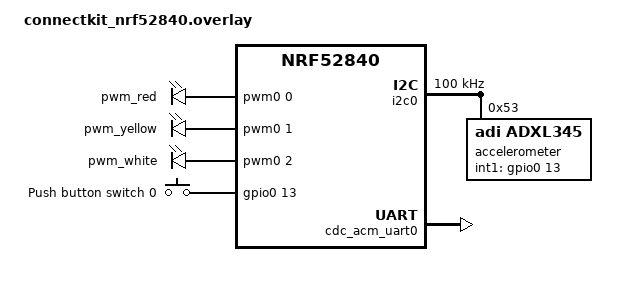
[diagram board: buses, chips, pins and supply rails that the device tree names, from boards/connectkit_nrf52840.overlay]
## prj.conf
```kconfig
# enable logging
CONFIG_LOG=y

# enable BLE with extended periodic observer
CONFIG_BT=y
# define BLE name for scan request
CONFIG_BT_DEVICE_NAME="TTL Receiver"
# increase BLE range by using CODED PHY
# CONFIG_BT_CTLR_PHY_CODED=y
CONFIG_BT_ISO_SYNC_RECEIVER=y
CONFIG_BT_ISO_MAX_CHAN=2

# Configuration for LED PWM solution
CONFIG_GPIO=y
CONFIG_PWM=y
CONFIG_PWM_LOG_LEVEL_DBG=y

# Enable adxl345 sensor via I2C
CONFIG_I2C=y
CONFIG_SENSOR=y
CONFIG_ADXL345=y
# Configure the adxl345 sensor
CONFIG_ADXL345_TRIGGER_GLOBAL_THREAD=y

CONFIG_SENSOR_LOG_LEVEL_DBG=y
# CONFIG_I2C_LOG_LEVEL_DBG=y
# CONFIG_I2C_DUMP_MESSAGES=y
# Configuration for LED Strips solution
# CONFIG_LED_STRIP=y
# CONFIG_LED_STRIP_LOG_LEVEL_DBG=y
# CONFIG_WS2812_STRIP=y
# CONFIG_LED_STRIP_WHITE_CHANNEL=y

CONFIG_PM_DEVICE=y
CONFIG_POWEROFF=y
CONFIG_REBOOT=y

CONFIG_TTL_SHUTDOWN_TIMEOUT=10
```

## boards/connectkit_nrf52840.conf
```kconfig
CONFIG_SERIAL=y
CONFIG_CONSOLE=y
CONFIG_UART_CONSOLE=y
CONFIG_UART_LINE_CTRL=y

# USB subsystem configuration
CONFIG_USB_DEVICE_STACK=y
CONFIG_USB_DEVICE_PRODUCT="Zephyr USB Console"
CONFIG_USB_DEVICE_INITIALIZE_AT_BOOT=y

CONFIG_CLOCK_CONTROL_NRF_K32SRC_RC=y
```

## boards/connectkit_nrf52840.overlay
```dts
/*
 * Copyright (c) 2016-2023 Makerdiary
 *
 * SPDX-License-Identifier: Apache-2.0
 */

// remove existing pwm LEDs dt configuration
/ {
	aliases {
		/delete-property/ sw0;
		/delete-property/ mcuboot-button0;
		/delete-property/ mcuboot-led0;

		/delete-property/ led0;
		/delete-property/ led1;
		/delete-property/ led2;
		/delete-property/ led3;
		/delete-property/ led0-green;
		/delete-property/ led1-red;
		/delete-property/ led1-green;
		/delete-property/ led1-blue;
		/delete-property/ pwm-led0;
		/delete-property/ pwm-led1;
		/delete-property/ pwm-led2;
		/delete-property/ pwm-led3;
		/delete-property/ red-pwm-led;
		/delete-property/ green-pwm-led;
		/delete-property/ blue-pwm-led;
	};
	/delete-node/ pwmleds;
	/delete-node/ buttons;
};

// create new configuration
/ {
	pwmleds {
		compatible = "pwm-leds";
		pwm_red: pwm_led0 {
			pwms = <&pwm0 0 PWM_SEC(1) PWM_POLARITY_NORMAL>;
		};
		pwm_yellow: pwm_led1 {
			pwms = <&pwm0 1 PWM_SEC(1) PWM_POLARITY_NORMAL>;
		};
		pwm_white: pwm_led2 {
			pwms = <&pwm0 2 PWM_SEC(1) PWM_POLARITY_NORMAL>;
		};
	};
};	

&pwm0_default {
	// use GPIO pins which are also available on the DONGLE
	group1 {
		psels = 
			<NRF_PSEL(PWM_OUT0, 0, 6)>, 
			<NRF_PSEL(PWM_OUT1, 0, 7)>,
			<NRF_PSEL(PWM_OUT2, 0, 8)>;
		
		// remove nordic,invert property,
		// otherwise the GPIO will be high if the PWM is disconnected
		/delete-property/ nordic,invert;
	};
};


/* 
 * ADXL345 on I2C
 * We use the alternative 7-bit I2C address: 0x53
 * Furthermore, we use the following pins for I2C
 *   - SCL: P0.22
 *   - SDA: P0.24
*/
&i2c0 {
	status = "okay";
	clock-frequency = <I2C_BITRATE_STANDARD>;
	accelerometer: adxl345@53 {
		compatible="adi,adxl345";
		reg=<0x53>;
		frequency=<100>;
		range=<16>;
		fifo=<0>;
		int1-gpios=<&gpio0 13 GPIO_ACTIVE_HIGH>;
	};
};

&i2c0_default {
	group1 {
		psels = <NRF_PSEL(TWIM_SCL, 0, 15)>,
				<NRF_PSEL(TWIM_SDA, 0, 16)>;
	};
};

/ {
		buttons {
		compatible = "gpio-keys";
		reboot_pin: reboot_pin {
			gpios = < &gpio0 13 (GPIO_PULL_DOWN | GPIO_ACTIVE_HIGH)>;
			label = "Push button switch 0";
		};
	};
};

/ {
  chosen {
      zephyr,console = &cdc_acm_uart0;
  };
};

&zephyr_udc0 {
  cdc_acm_uart0: cdc_acm_uart0 {
      compatible = "zephyr,cdc-acm-uart";
  };
};
```

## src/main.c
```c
#include <zephyr/drivers/gpio.h>
#include <zephyr/drivers/sensor.h>
#include <zephyr/kernel.h>
#include <zephyr/logging/log.h>
#include <zephyr/sys/poweroff.h>
#include <zephyr/sys/reboot.h>

#include "accel.h"
#include "ble.h"
#include "led.h"
#include "ttl.h"

LOG_MODULE_REGISTER(ttl_main, LOG_LEVEL_INF);

/**
 * @brief Reset pin, used by the accelerometer to wakeup the boot
 */
static const struct gpio_dt_spec reboot_pin =
    GPIO_DT_SPEC_GET(DT_NODELABEL(reboot_pin), gpios);

/**
 * @brief Overwrite ASSERT handler
 * @param reason - The reason for the fatal error
 * @param esf    - Exception context, with details and partial or full register
 *                 state when the error occurred. May in some cases be NULL.
 */
void k_sys_fatal_error_handler(unsigned int reason, const z_arch_esf_t *esf) {
  ARG_UNUSED(esf);
  LOG_ERR("Assert received, reboot system");
  sys_reboot(SYS_REBOOT_COLD);
  CODE_UNREACHABLE; /* LCOV_EXCL_LINE */
}

/**
 * @brief Power down TTL to save energy.
 * This function activates the acceleration monitoring and wakeups the MCU once
 * a movement is recognized.
 */
static int ttl_power_down() {
  int err;

  // stop all components
  ttl_ble_terminate();
  ttl_led_terminate();
  
  // wait some time before shuting down the system
  k_msleep(2000);

  // initiate accel interrupt for wakeup
  err = ttl_accel_init();
  if (TTL_OK != err) {
    LOG_ERR("Failed to initialize the TTLight ACCEL stack\n");
    return TTL_ERR;
  }

  // overwrite gpio interrupt pin config to be a user wakeup pin
  err = gpio_pin_configure_dt(&reboot_pin, GPIO_INPUT);
  if (err < 0) {
    LOG_ERR("Could not configure sw0 GPIO (%d)\n", err);
    return TTL_ERR;
  }

  err = gpio_pin_interrupt_configure_dt(&reboot_pin, GPIO_INT_LEVEL_ACTIVE);
  if (err < 0) {
    LOG_ERR("Could not configure sw0 GPIO interrupt (%d)\n", err);
    return TTL_ERR;
  }

  sys_poweroff();

  return TTL_OK;
}

/**
 * @brief Main function of the TTL receiver
 */
int main(void) {
  ttl_err_t err = 0;
  int64_t last_packet_time;
  int64_t elapsed_time;

  LOG_INF("Starting TTLight Controller\n");

  err = ttl_ble_init();
  if (TTL_OK != err) {
    LOG_ERR("Failed to initialize the TTLight BLE stack\n");
    return TTL_ERR;
  }
  LOG_INF("Initialized TTLight BLE stack properly");

  err = ttl_led_init();
  if (TTL_OK != err) {
    LOG_ERR("Failed to initialize the TTLight GPIO stack\n");
    goto exit;
  }
  ttl_ble_register_cb(ttl_led_upd_status);
  LOG_INF("Initialized TTLight LED stack properly");

  err = ttl_led_run();
  if (TTL_OK != err) {
    LOG_ERR("Failed to start TTLight LED stack");
    return TTL_ERR;
  }
  LOG_INF("Started TTLight LED stack properly");

  err = ttl_ble_run();
  if (TTL_OK != err) {
    LOG_ERR("Failed to start TTLight BLE stack");
    return TTL_ERR;
  }
  LOG_INF("Started TTLight BLE stack properly");

exit:
  while (1) {
    last_packet_time = ttl_ble_latest_packet_datetime();
    elapsed_time = k_uptime_delta(&last_packet_time);
    LOG_INF("Elapsed time: %lld", elapsed_time);
    k_msleep(1000);
    if (elapsed_time >= (CONFIG_TTL_SHUTDOWN_TIMEOUT * 1000)) {
      err = ttl_power_down();
      if (TTL_OK != err) {
        LOG_ERR("Failed to shutdown, let's force a restart of the board");
        k_msleep(2000);
        sys_reboot(SYS_REBOOT_COLD);
      }
    }
  }
  return 0;
}
```

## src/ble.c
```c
/*
 * Copyright (c) 2021 Nordic Semiconductor ASA
 *
 * SPDX-License-Identifier: Apache-2.0
 */

#include <sys/types.h>
#include <zephyr/bluetooth/bluetooth.h>
#include <zephyr/bluetooth/conn.h>
#include <zephyr/bluetooth/iso.h>
#include <zephyr/device.h>
#include <zephyr/devicetree.h>
#include <zephyr/logging/log.h>
#include <zephyr/sys/byteorder.h>

#include "ttl.h"
#include "zephyr/kernel.h"

LOG_MODULE_REGISTER(ttl_ble, LOG_LEVEL_INF);

// ttl ble thread objects
#define TTL_BLE_STACK_SIZE (2048)
static K_KERNEL_STACK_DEFINE(ttl_ble_thread_stack, TTL_BLE_STACK_SIZE);
static struct k_thread ttl_ble_thread_data;

static ttl_upd_state_cb_t ttl_upd_state_cb;
static int64_t ttl_iso_last_datetime;
static bool ttl_iso_connected;
#define TIMEOUT_SYNC_CREATE K_SECONDS(10)
#define NAME_LEN 30

#define BT_LE_SCAN_CUSTOM                                                      \
  BT_LE_SCAN_PARAM(BT_LE_SCAN_TYPE_ACTIVE, BT_LE_SCAN_OPT_NONE,                \
                   BT_GAP_SCAN_FAST_INTERVAL, BT_GAP_SCAN_FAST_WINDOW)

#define PA_RETRY_COUNT 6

static bool per_adv_found;
static bool per_adv_lost;
static bt_addr_le_t per_addr;
static uint8_t per_sid;
static uint32_t per_interval_us;

static uint32_t iso_recv_count;

static K_SEM_DEFINE(sem_per_adv, 0, 1);
static K_SEM_DEFINE(sem_per_sync, 0, 1);
static K_SEM_DEFINE(sem_per_sync_lost, 0, 1);
static K_SEM_DEFINE(sem_per_big_info, 0, 1);
static K_SEM_DEFINE(sem_big_sync, 0, 1);
static K_SEM_DEFINE(sem_big_sync_lost, 0, 1);

static bool data_cb(struct bt_data *data, void *user_data) {
  char *name = user_data;
  uint8_t len;

  switch (data->type) {
  case BT_DATA_NAME_SHORTENED:
  case BT_DATA_NAME_COMPLETE:
    len = MIN(data->data_len, NAME_LEN - 1);
    memcpy(name, data->data, len);
    name[len] = '\0';
    return false;
  default:
    return true;
  }
}

static const char *phy2str(uint8_t phy) {
  switch (phy) {
  case 0:
    return "No packets";
  case BT_GAP_LE_PHY_1M:
    return "LE 1M";
  case BT_GAP_LE_PHY_2M:
    return "LE 2M";
  case BT_GAP_LE_PHY_CODED:
    return "LE Coded";
  default:
    return "Unknown";
  }
}

static void scan_recv(const struct bt_le_scan_recv_info *info,
                      struct net_buf_simple *buf) {
  char le_addr[BT_ADDR_LE_STR_LEN];
  char name[NAME_LEN];

  (void)memset(name, 0, sizeof(name));

  bt_data_parse(buf, data_cb, name);

  bt_addr_le_to_str(info->addr, le_addr, sizeof(le_addr));
  LOG_DBG("[DEVICE]: %s, AD evt type %u, Tx Pwr: %i, RSSI %i %s "
          "C:%u S:%u D:%u SR:%u E:%u Prim: %s, Secn: %s, "
          "Interval: 0x%04x (%u us), SID: %u",
          le_addr, info->adv_type, info->tx_power, info->rssi, name,
          (info->adv_props & BT_GAP_ADV_PROP_CONNECTABLE) != 0,
          (info->adv_props & BT_GAP_ADV_PROP_SCANNABLE) != 0,
          (info->adv_props & BT_GAP_ADV_PROP_DIRECTED) != 0,
          (info->adv_props & BT_GAP_ADV_PROP_SCAN_RESPONSE) != 0,
          (info->adv_props & BT_GAP_ADV_PROP_EXT_ADV) != 0,
          phy2str(info->primary_phy), phy2str(info->secondary_phy),
          info->interval, BT_CONN_INTERVAL_TO_US(info->interval), info->sid);

  if (!per_adv_found && info->interval) {
    per_adv_found = true;

    per_sid = info->sid;
    per_interval_us = BT_CONN_INTERVAL_TO_US(info->interval);
    bt_addr_le_copy(&per_addr, info->addr);

    k_sem_give(&sem_per_adv);
  }
}

static struct bt_le_scan_cb scan_callbacks = {
    .recv = scan_recv,
};

static void sync_cb(struct bt_le_per_adv_sync *sync,
                    struct bt_le_per_adv_sync_synced_info *info) {
  char le_addr[BT_ADDR_LE_STR_LEN];

  bt_addr_le_to_str(info->addr, le_addr, sizeof(le_addr));

  LOG_INF("PER_ADV_SYNC[%u]: [DEVICE]: %s synced, "
          "Interval 0x%04x (%u ms), PHY %s",
          bt_le_per_adv_sync_get_index(sync), le_addr, info->interval,
          info->interval * 5 / 4, phy2str(info->phy));

  k_sem_give(&sem_per_sync);
}

static void term_cb(struct bt_le_per_adv_sync *sync,
                    const struct bt_le_per_adv_sync_term_info *info) {
  char le_addr[BT_ADDR_LE_STR_LEN];

  bt_addr_le_to_str(info->addr, le_addr, sizeof(le_addr));

  LOG_INF("PER_ADV_SYNC[%u]: [DEVICE]: %s sync terminated",
          bt_le_per_adv_sync_get_index(sync), le_addr);

  per_adv_lost = true;
  k_sem_give(&sem_per_sync_lost);
}

static void recv_cb(struct bt_le_per_adv_sync *sync,
                    const struct bt_le_per_adv_sync_recv_info *info,
                    struct net_buf_simple *buf) {
  char le_addr[BT_ADDR_LE_STR_LEN];
  char data_str[129];

  bt_addr_le_to_str(info->addr, le_addr, sizeof(le_addr));
  bin2hex(buf->data, buf->len, data_str, sizeof(data_str));

  LOG_INF("PER_ADV_SYNC[%u]: [DEVICE]: %s, tx_power %i, "
          "RSSI %i, CTE %u, data length %u, data: %s",
          bt_le_per_adv_sync_get_index(sync), le_addr, info->tx_power,
          info->rssi, info->cte_type, buf->len, data_str);
}

static void biginfo_cb(struct bt_le_per_adv_sync *sync,
                       const struct bt_iso_biginfo *biginfo) {
  char le_addr[BT_ADDR_LE_STR_LEN];

  bt_addr_le_to_str(biginfo->addr, le_addr, sizeof(le_addr));

  LOG_INF("BIG INFO[%u]: [DEVICE]: %s, sid 0x%02x, "
          "num_bis %u, nse %u, interval 0x%04x (%u ms), "
          "bn %u, pto %u, irc %u, max_pdu %u, "
          "sdu_interval %u us, max_sdu %u, phy %s, "
          "%s framing, %sencrypted",
          bt_le_per_adv_sync_get_index(sync), le_addr, biginfo->sid,
          biginfo->num_bis, biginfo->sub_evt_count, biginfo->iso_interval,
          (biginfo->iso_interval * 5 / 4), biginfo->burst_number,
          biginfo->offset, biginfo->rep_count, biginfo->max_pdu,
          biginfo->sdu_interval, biginfo->max_sdu, phy2str(biginfo->phy),
          biginfo->framing ? "with" : "without",
          biginfo->encryption ? "" : "not ");

  k_sem_give(&sem_per_big_info);
}

static struct bt_le_per_adv_sync_cb sync_callbacks = {
    .synced = sync_cb,
    .term = term_cb,
    .recv = recv_cb,
    .biginfo = biginfo_cb,
};

/**
 * @brief Callback function once ISO data has been received via BLE
 */
static void iso_recv(struct bt_iso_chan *chan,
                     const struct bt_iso_recv_info *info, struct net_buf *buf) {
  ttl_state_t state; /* only valid if the data is a counter */

  if (buf->len == sizeof(state)) {
    state.entire = sys_get_le32(buf->data);

    if ((iso_recv_count % CONFIG_TTL_STATE_PRINT_INTERVAL) == 0) {
      LOG_INF("Incoming data channel %p flags 0x%x seq_num %u ts %u len %u "
              "data: %x",
              chan, info->flags, info->seq_num, info->ts, buf->len,
              state.entire);
      PRINT_TTL_STATE(state);
    }

    // execute update state callback if set
    if (ttl_upd_state_cb) {
      (*ttl_upd_state_cb)(state);
    }
    // update last received datetime
    ttl_iso_last_datetime = k_uptime_get();
  }
  iso_recv_count++;
}

static void iso_connected(struct bt_iso_chan *chan) {
  LOG_INF("ISO Channel %p connected", chan);
  ttl_iso_connected = true;
  k_sem_give(&sem_big_sync);
}

static void iso_disconnected(struct bt_iso_chan *chan, uint8_t reason) {
  LOG_INF("ISO Channel %p disconnected with reason 0x%02x", chan, reason);
  if (reason != BT_HCI_ERR_OP_CANCELLED_BY_HOST) {
    ttl_iso_connected = false;
    k_sem_give(&sem_big_sync_lost);
  }
}

static struct bt_iso_chan_ops iso_ops = {
    .recv = iso_recv,
    .connected = iso_connected,
    .disconnected = iso_disconnected,
};

static struct bt_iso_chan_io_qos iso_rx_qos[1];

static struct bt_iso_chan_qos bis_iso_qos[] = {
    {
        .rx = &iso_rx_qos[0],

    },
};

static struct bt_iso_chan bis_iso_chan[] = {{
    .ops = &iso_ops,
    .qos = &bis_iso_qos[0],
}};

static struct bt_iso_chan *bis[] = {
    &bis_iso_chan[0],
};

static struct bt_iso_big_sync_param big_sync_param = {
    .bis_channels = bis,
    .num_bis = 1,
    .bis_bitfield = (BIT_MASK(1) << 1),
    .mse = BT_ISO_SYNC_MSE_ANY, /* any number of subevents */
    .sync_timeout = 100,        /* in 10 ms units */
};

static void reset_semaphores(void) {
  k_sem_reset(&sem_per_adv);
  k_sem_reset(&sem_per_sync);
  k_sem_reset(&sem_per_sync_lost);
  k_sem_reset(&sem_per_big_info);
  k_sem_reset(&sem_big_sync);
  k_sem_reset(&sem_big_sync_lost);
}
/**
 * @brief Main TTL BLE thread loop
 */
void ttl_ble_thread_main() {
  struct bt_le_per_adv_sync_param sync_create_param;
  struct bt_le_per_adv_sync *sync;
  struct bt_iso_big *big;
  uint32_t sem_timeout_us;
  int err;

  iso_recv_count = 0;

  LOG_INF("Starting Synchronized Receiver Demo");

  /* Initialize the Bluetooth Subsystem */
  err = bt_enable(NULL);
  if (err) {
    LOG_INF("Bluetooth init failed (err %d)", err);
    return;
  }

  LOG_INF("Scan callbacks register...");
  bt_le_scan_cb_register(&scan_callbacks);
  LOG_INF("success.");

  LOG_INF("Periodic Advertising callbacks register...");
  bt_le_per_adv_sync_cb_register(&sync_callbacks);
  LOG_INF("Success.");

  do {
    reset_semaphores();
    per_adv_lost = false;

    LOG_INF("Start scanning...");
    err = bt_le_scan_start(BT_LE_SCAN_CUSTOM, NULL);
    if (err) {
      LOG_INF("failed (err %d)", err);
      return;
    }
    LOG_INF("success.");

    LOG_INF("Waiting for periodic advertising...");
    per_adv_found = false;
    err = k_sem_take(&sem_per_adv, K_FOREVER);
    if (err) {
      LOG_INF("failed (err %d)", err);
      return;
    }
    LOG_INF("Found periodic advertising.");

    LOG_INF("Stop scanning...");
    err = bt_le_scan_stop();
    if (err) {
      LOG_INF("failed (err %d)", err);
      return;
    }
    LOG_INF("success.");

    LOG_INF("Creating Periodic Advertising Sync...");
    bt_addr_le_copy(&sync_create_param.addr, &per_addr);
    sync_create_param.options = 0;
    sync_create_param.sid = per_sid;
    sync_create_param.skip = 0;
    /* Multiple PA interval with retry count and convert to unit of 10 ms */
    sync_create_param.timeout =
        (per_interval_us * PA_RETRY_COUNT) / (10 * USEC_PER_MSEC);
    sem_timeout_us = per_interval_us * PA_RETRY_COUNT;
    err = bt_le_per_adv_sync_create(&sync_create_param, &sync);
    if (err) {
      LOG_INF("failed (err %d)", err);
      return;
    }
    LOG_INF("success.");

    LOG_INF("Waiting for periodic sync...");
    err = k_sem_take(&sem_per_sync, K_USEC(sem_timeout_us));
    if (err) {
      LOG_INF("failed (err %d)", err);

      LOG_INF("Deleting Periodic Advertising Sync...");
      err = bt_le_per_adv_sync_delete(sync);
      if (err) {
        LOG_INF("failed (err %d)", err);
        return;
      }
      continue;
    }
    LOG_INF("Periodic sync established.");

    LOG_INF("Waiting for BIG info...");
    err = k_sem_take(&sem_per_big_info, K_USEC(sem_timeout_us));
    if (err) {
      LOG_INF("failed (err %d)", err);

      if (per_adv_lost) {
        continue;
      }

      LOG_INF("Deleting Periodic Advertising Sync...");
      err = bt_le_per_adv_sync_delete(sync);
      if (err) {
        LOG_INF("failed (err %d)", err);
        return;
      }
      continue;
    }
    LOG_INF("Periodic sync established.");

  big_sync_create:
    LOG_INF("Create BIG Sync...");
    err = bt_iso_big_sync(sync, &big_sync_param, &big);
    if (err) {
      LOG_INF("failed (err %d)", err);
      return;
    }
    LOG_INF("success.");

    LOG_INF("Waiting for BIG sync chan ...");
    err = k_sem_take(&sem_big_sync, TIMEOUT_SYNC_CREATE);
    if (err) {
      break;
    }
    LOG_INF("BIG sync chan successful.");
    if (err) {
      LOG_INF("failed (err %d)", err);

      LOG_INF("BIG Sync Terminate...");
      err = bt_iso_big_terminate(big);
      if (err) {
        LOG_INF("failed (err %d)", err);
        return;
      }
      LOG_INF("done.");

      goto per_sync_lost_check;
    }
    LOG_INF("BIG sync established.");

    LOG_INF("Waiting for BIG sync lost chan...");
    err = k_sem_take(&sem_big_sync_lost, K_FOREVER);
    if (err) {
      LOG_INF("failed (err %d)", err);
      return;
    }
    LOG_INF("BIG sync lost.");

  per_sync_lost_check:
    LOG_INF("Check for periodic sync lost...");
    err = k_sem_take(&sem_per_sync_lost, K_NO_WAIT);
    if (err) {
      /* Periodic Sync active, go back to creating BIG Sync */
      goto big_sync_create;
    }
    LOG_INF("Periodic sync lost.");
  } while (true);

  return;
}

ttl_err_t ttl_ble_init(void) {
  ttl_upd_state_cb = NULL;
  ttl_iso_connected = false;
  return TTL_OK;
}

ttl_err_t ttl_ble_run(void) {
  ttl_iso_last_datetime = k_uptime_get();

  /* Start a thread to offload disk ops */
  k_thread_create(&ttl_ble_thread_data, ttl_ble_thread_stack,
                  TTL_BLE_STACK_SIZE, (k_thread_entry_t)ttl_ble_thread_main,
                  NULL, NULL, NULL, -5, 0, K_NO_WAIT);
  k_thread_name_set(&ttl_ble_thread_data, "ttl_ble_worker");

  return TTL_OK;
}

ttl_err_t ttl_ble_terminate(void) {
  ttl_err_t ret = TTL_OK;

  // TODO(akarner): not sure if we can kill it like this
  ret = bt_disable();
  if (ret != TTL_OK) {
    return TTL_ERR;
  }

  return TTL_OK;
}
void ttl_ble_register_cb(ttl_upd_state_cb_t cb) {
  if (cb) {
    ttl_upd_state_cb = cb;
  }
}

bool ttl_ble_is_connected(void) { return ttl_iso_connected; }
int64_t ttl_ble_latest_packet_datetime(void) { return ttl_iso_last_datetime; }
```

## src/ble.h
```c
#ifndef BLE_H
#define BLE_H

#include "ttl.h"
#include <stdbool.h>
#include <sys/types.h>

/**
 * @brief Initiate TTL BLE module.
 *
 * @return #ttl_err_t
 */
ttl_err_t ttl_ble_init(void);

/**
 * @brief Run the TTLight BLE logic.
 * This includes spawning a new thread, enabling BLE, creating an ISO channel
 * and sending the current ttl state. The ttl state can be updated via function
 * #ttl_ble_upd_status.
 *
 * @return #ttl_err_t
 */
ttl_err_t ttl_ble_run(void);

/**
 * @brief Terminates the TTL BLE module.
 *
 * @return #ttl_err_t
 */
ttl_err_t ttl_ble_terminate(void);

/**
 * @brief Register new callback function, triggered per received data package
 *
 * @param[in] cb - callback to register
 */
void ttl_ble_register_cb(ttl_upd_state_cb_t cb);

/**
 * @brief Query if the ble stack is currently connected to some iso channel
 *
 * @return true if connected else false
 */
bool ttl_ble_is_connected(void);

/**
 * @brief Query the latest received ble iso packet datetime.
 * Please consider that this date will be the thread start time if no iso
 * connection was made yet.
 *
 * @return time_t of last packet
 */
int64_t ttl_ble_latest_packet_datetime(void);

#endif
```

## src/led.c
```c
#include <zephyr/device.h>
#include <zephyr/kernel.h>
#include <zephyr/logging/log.h>
#include <zephyr/sys/util.h>

#include <haly/nrfy_pwm.h>
#include <nrfx.h>
#include <nrfx_pwm.h>
#include <zephyr/drivers/pwm.h>

#include "led.h"

#define DT_DRV_COMPAT nrf52840dk

LOG_MODULE_REGISTER(ttl_led, LOG_LEVEL_INF);

// ttl gpio thread objects
#define TTL_LED_STACK_SIZE (2048)
static K_KERNEL_STACK_DEFINE(ttl_led_thread_stack, TTL_LED_STACK_SIZE);
static struct k_thread ttl_led_thread_data;

static ttl_state_t ttl_state;

static K_SEM_DEFINE(sem_ttl_state, 1, 1);
static K_SEM_DEFINE(sem_ttl_update, 1, 1);

// PWM LEDs devices
struct ttl_pwm_led_t {
  const struct pwm_dt_spec pwm;
  const uint32_t pwm_periode;
  const uint32_t pwm_duty;
};

enum ttl_pwm_led_idx {
  TTL_PWM_IDX_BREAK = 0,
  TTL_PWM_IDX_DIRPOINTER,
  TTL_PWM_IDX_REVERSE,
  TTL_PWM_IDX_DRIVE,
};

static struct ttl_pwm_led_t ttl_pwm_leds[] = {
    {.pwm = PWM_DT_SPEC_GET(DT_NODELABEL(pwm_red)),
     .pwm_periode = TTL_PWM_LED_PERIODE,
     .pwm_duty = TTL_PWM_LED_DUTY(100)},
    {.pwm = PWM_DT_SPEC_GET(DT_NODELABEL(pwm_yellow)),
     .pwm_periode = TTL_PWM_LED_PERIODE,
     .pwm_duty = TTL_PWM_LED_DUTY(100)},
    {.pwm = PWM_DT_SPEC_GET(DT_NODELABEL(pwm_white)),
     .pwm_periode = TTL_PWM_LED_PERIODE,
     .pwm_duty = TTL_PWM_LED_DUTY(90)},
    {.pwm = PWM_DT_SPEC_GET(DT_NODELABEL(pwm_red)),
     .pwm_periode = TTL_PWM_LED_PERIODE,
     .pwm_duty = TTL_PWM_LED_DUTY(30)},
};

/*
 * @brief Very nasty functions to connect and disconnect the PWM channels, as
 * explained in the NRF documentation:
 * https://infocenter.nordicsemi.com/topic/ps_nrf52840/pwm.html?cp=5_0_0_5_16_4_22#register.PSEL.OUT-0-3
 * This allows us to disable and enable the PWM signal on the GPIO port without
 * the need to reconfigure the entire PWM instance. However, these hacky
 * functions only work if the first member of the dev->config struct is the
 * nrfx_pwm_t instance. The device config struct is private in the C file, hence
 * we are unable to access its definition. But because the first required
 * information is a the beginning of the config struct we simply access the
 * nrfx_pwm_t directly, because they own the same address in memory.
 */
static void inline ttl_led_connect(struct ttl_pwm_led_t *led) {
  int ret = pwm_set_dt(&led->pwm, led->pwm_periode, led->pwm_duty);
  if (ret) {
    LOG_ERR("Error %d: failed to set pulse width\n", ret);
    return;
  }

  const struct pwm_dt_spec *pwm = &led->pwm;
  nrfx_pwm_t *nrfx_pwm = (nrfx_pwm_t *)pwm->dev->config;
  nrfx_pwm->p_reg->PSEL.OUT[pwm->channel] &= ~(0x1 << PWM_PSEL_OUT_CONNECT_Pos);
}

static void inline ttl_led_disconnect(struct ttl_pwm_led_t *led) {
  const struct pwm_dt_spec *pwm = &led->pwm;
  nrfx_pwm_t *nrfx_pwm = (nrfx_pwm_t *)pwm->dev->config;
  nrfx_pwm->p_reg->PSEL.OUT[pwm->channel] |= (0x1 << PWM_PSEL_OUT_CONNECT_Pos);
}

static void ttl_led_disconnect_all() {
  for (uint8_t idx = 0; idx < ARRAY_SIZE(ttl_pwm_leds); idx++) {
    ttl_led_disconnect(&ttl_pwm_leds[idx]);
  }
}

static int ttl_led_loop() {
  ttl_state_t state;

  while (true) {
    // block until other signals that we have to update our leds
    LOG_INF("Take update sem");
    k_sem_take(&sem_ttl_update, K_FOREVER);

    LOG_INF("Take ttl state sem");
    // fetch new value
    k_sem_take(&sem_ttl_state, K_FOREVER);
    state = ttl_state;
    k_sem_give(&sem_ttl_state);

    LOG_INF("Received trailer light state update to:");
    PRINT_TTL_STATE(state);

    // disconnect all LEDs
    ttl_led_disconnect_all();

    // TODO: add logic to differentiate if this is a right or left light
    if (state.parts.bits.lturn) {
      LOG_INF("Enable DIRECTION LIGHT");
      ttl_led_connect(&ttl_pwm_leds[TTL_PWM_IDX_DIRPOINTER]);
    }
    // TODO: change to a if
    else if (state.parts.bits.breaks) {
      LOG_INF("Enable BREAK LIGHT");
      ttl_led_connect(&ttl_pwm_leds[TTL_PWM_IDX_BREAK]);
    } else if (state.parts.bits.reverse) {
      LOG_INF("Enable REVERSE LIGHT");
      ttl_led_connect(&ttl_pwm_leds[TTL_PWM_IDX_REVERSE]);
    } else if (state.parts.bits.ldrive) {
      LOG_INF("Enable DRIVE LIGHT");
      ttl_led_connect(&ttl_pwm_leds[TTL_PWM_IDX_DRIVE]);
    } else {
      LOG_INF("Nothing to enable???");
    }
  }

  return TTL_OK;
}

ttl_err_t ttl_led_init() {
  int ret = TTL_OK;

  LOG_INF("TTLight starts to initiate the GPIO stack");
  for (uint8_t idx = 0; idx < ARRAY_SIZE(ttl_pwm_leds); idx++) {
    ret = device_is_ready(ttl_pwm_leds[idx].pwm.dev);
    if (false == ret) {
      LOG_ERR("PWM LED device is not ready with name: %s and channel: %d",
              ttl_pwm_leds[idx].pwm.dev->name, ttl_pwm_leds[idx].pwm.channel);
      ret = TTL_ERR;
      break;
    }
    LOG_INF("PWM LED device is ready device with name:  %s and channel: %d",
            ttl_pwm_leds[idx].pwm.dev->name, ttl_pwm_leds[idx].pwm.channel);

    ret = pwm_set_dt(&ttl_pwm_leds[idx].pwm, ttl_pwm_leds[idx].pwm_periode,
                     ttl_pwm_leds[idx].pwm_duty);
    if (ret) {
      LOG_ERR("Error %d: failed to set pulse width\n", ret);
      ret = TTL_ERR;
      break;
    }
  }

  if (TTL_OK != ret) {
    LOG_ERR("Failed to initiate the TTLight GPIO stack");
    return ret;
  }
  LOG_INF("TTLight initiated the GPIO stack successfully");

  // init state
  ttl_state.entire = 0;
  ttl_state.parts.bits.rdrive = 1;
  ttl_state.parts.bits.ldrive = 1;

  // ttl_led_disconnect_all();

  return ret;
}

ttl_err_t ttl_led_run() {
  /* Start a thread to offload disk ops */
  k_thread_create(&ttl_led_thread_data, ttl_led_thread_stack,
                  TTL_LED_STACK_SIZE, (k_thread_entry_t)ttl_led_loop, NULL,
                  NULL, NULL, 2, 0, K_NO_WAIT);
  k_thread_name_set(&ttl_led_thread_data, "ttl_ble_worker");

  return TTL_OK;
}

ttl_err_t ttl_led_terminate() {
  // kill the thread
  k_thread_abort(&ttl_led_thread_data);

  // set all LEDs to off
  for (uint8_t idx = 0; idx < ARRAY_SIZE(ttl_pwm_leds); idx++) {
    pwm_set_dt(&ttl_pwm_leds[idx].pwm, ttl_pwm_leds[idx].pwm_periode, 0);
  }
  ttl_led_disconnect_all();

  return TTL_OK;
}

ttl_err_t inline ttl_led_upd_status(ttl_state_t state) {
  if (state.entire != ttl_state.entire) {
    k_sem_take(&sem_ttl_state, K_FOREVER);
    ttl_state = state;
    k_sem_give(&sem_ttl_state);

    // signal led thread to update led state
    k_sem_give(&sem_ttl_update);
  }

  return TTL_OK;
}
```

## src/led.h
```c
#ifndef LED_H
#define LED_H

#include "ttl.h"

// from datasheet:
//  * periode: 1kHz = 1ms
//  * duty: 10%
#define TTL_PWM_LED_PERIODE 1000000
#define TTL_PWM_LED_DUTY(x) (TTL_PWM_LED_PERIODE / 100 * (x - 1))

/**
 * @brief Enable the TTLight LED stack and start a new thread to update LED
 * state periodically. The actually update the LED state, please use
 * @ttl_led_start and @ttl_led_stop.
 * @return TTL_OK on success, else TTL_ERR
 */
ttl_err_t ttl_led_init();

/**
 * @brief Start periodically updating the external LEDs with the current TTLight
 * state.
 * @return TTL_OK on success, else TTL_ERR
 */
ttl_err_t ttl_led_run();

/**
 * @brief Stop periodically updating the external LEDs with the current TTLight
 * state.
 * @return TTL_OK on success, else TTL_ERR
 */
ttl_err_t ttl_led_terminate();

/**
 * @brief Callback function to update internal led status.
 * By executing this callback status, other threads can request a led change.
 * @param[in] state - new ttl state to light up
 * @return TTL_OK on success, else TTL_ERR
 */
ttl_err_t ttl_led_upd_status(ttl_state_t state);

#endif
```
